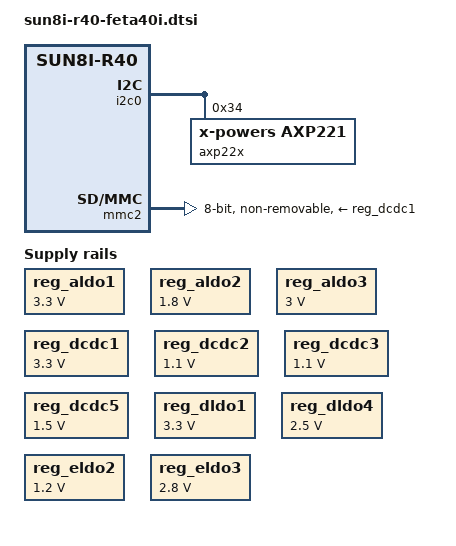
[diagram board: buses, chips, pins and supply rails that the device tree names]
// SPDX-License-Identifier: GPL-2.0+ OR MIT
// Copyright (C) 2021 Ivan Uvarov <i.uvarov@cognitivepilot.com>
// Based on the sun8i-r40-bananapi-m2-ultra.dts, which is:
//  Copyright (C) 2017 Chen-Yu Tsai <wens@csie.org>
//  Copyright (C) 2017 Icenowy Zheng <icenowy@aosc.io>

#include "sun8i-r40.dtsi"
#include "sun8i-r40-cpu-opp.dtsi"

&cpu0 {
	cpu-supply = <&reg_dcdc2>;
};

&i2c0 {
	status = "okay";

	axp22x: pmic@34 {
		compatible = "x-powers,axp221";
		reg = <0x34>;
		interrupt-parent = <&nmi_intc>;
		interrupts = <0 IRQ_TYPE_LEVEL_LOW>;
	};
};

#include "axp22x.dtsi"

&mmc2 {
	vmmc-supply = <&reg_dcdc1>;
	vqmmc-supply = <&reg_aldo2>;
	bus-width = <8>;
	non-removable;
	status = "okay";
};

&pio {
	pinctrl-names = "default";
	pinctrl-0 = <&clk_out_a_pin>;
	vcc-pa-supply = <&reg_dcdc1>;
	vcc-pc-supply = <&reg_aldo2>;
	vcc-pd-supply = <&reg_dcdc1>;
	vcc-pf-supply = <&reg_dldo4>;
	vcc-pg-supply = <&reg_dldo1>;
};

&reg_aldo1 {
	regulator-always-on;
	regulator-min-microvolt = <3300000>;
	regulator-max-microvolt = <3300000>;
	regulator-name = "vcc-3v3-tv-usb";
};

&reg_aldo2 {
	regulator-always-on;
	regulator-min-microvolt = <1800000>;
	regulator-max-microvolt = <1800000>;
	regulator-name = "vcc-pa";
};

&reg_aldo3 {
	regulator-always-on;
	regulator-min-microvolt = <3000000>;
	regulator-max-microvolt = <3000000>;
	regulator-name = "avcc";
};

&reg_dcdc1 {
	regulator-always-on;
	regulator-min-microvolt = <3300000>;
	regulator-max-microvolt = <3300000>;
	regulator-name = "vcc-3v3";
};

&reg_dcdc2 {
	regulator-always-on;
	regulator-min-microvolt = <1100000>;
	regulator-max-microvolt = <1100000>;
	regulator-name = "vdd-cpu";
};

&reg_dcdc3 {
	regulator-always-on;
	regulator-min-microvolt = <1100000>;
	regulator-max-microvolt = <1100000>;
	regulator-name = "vdd-sys";
};

&reg_dcdc5 {
	regulator-always-on;
	regulator-min-microvolt = <1500000>;
	regulator-max-microvolt = <1500000>;
	regulator-name = "vcc-dram";
};

&reg_dldo1 {
	regulator-always-on;
	regulator-min-microvolt = <3300000>;
	regulator-max-microvolt = <3300000>;
	regulator-name = "vcc-wifi-io";
};

&reg_dldo4 {
	regulator-always-on;
	regulator-min-microvolt = <2500000>;
	regulator-max-microvolt = <2500000>;
	regulator-name = "vdd2v5-sata";
};

&reg_eldo2 {
	regulator-min-microvolt = <1200000>;
	regulator-max-microvolt = <1200000>;
	regulator-name = "vdd1v2-sata";
};

&reg_eldo3 {
	regulator-min-microvolt = <2800000>;
	regulator-max-microvolt = <2800000>;
	regulator-name = "vcc-pe";
};
